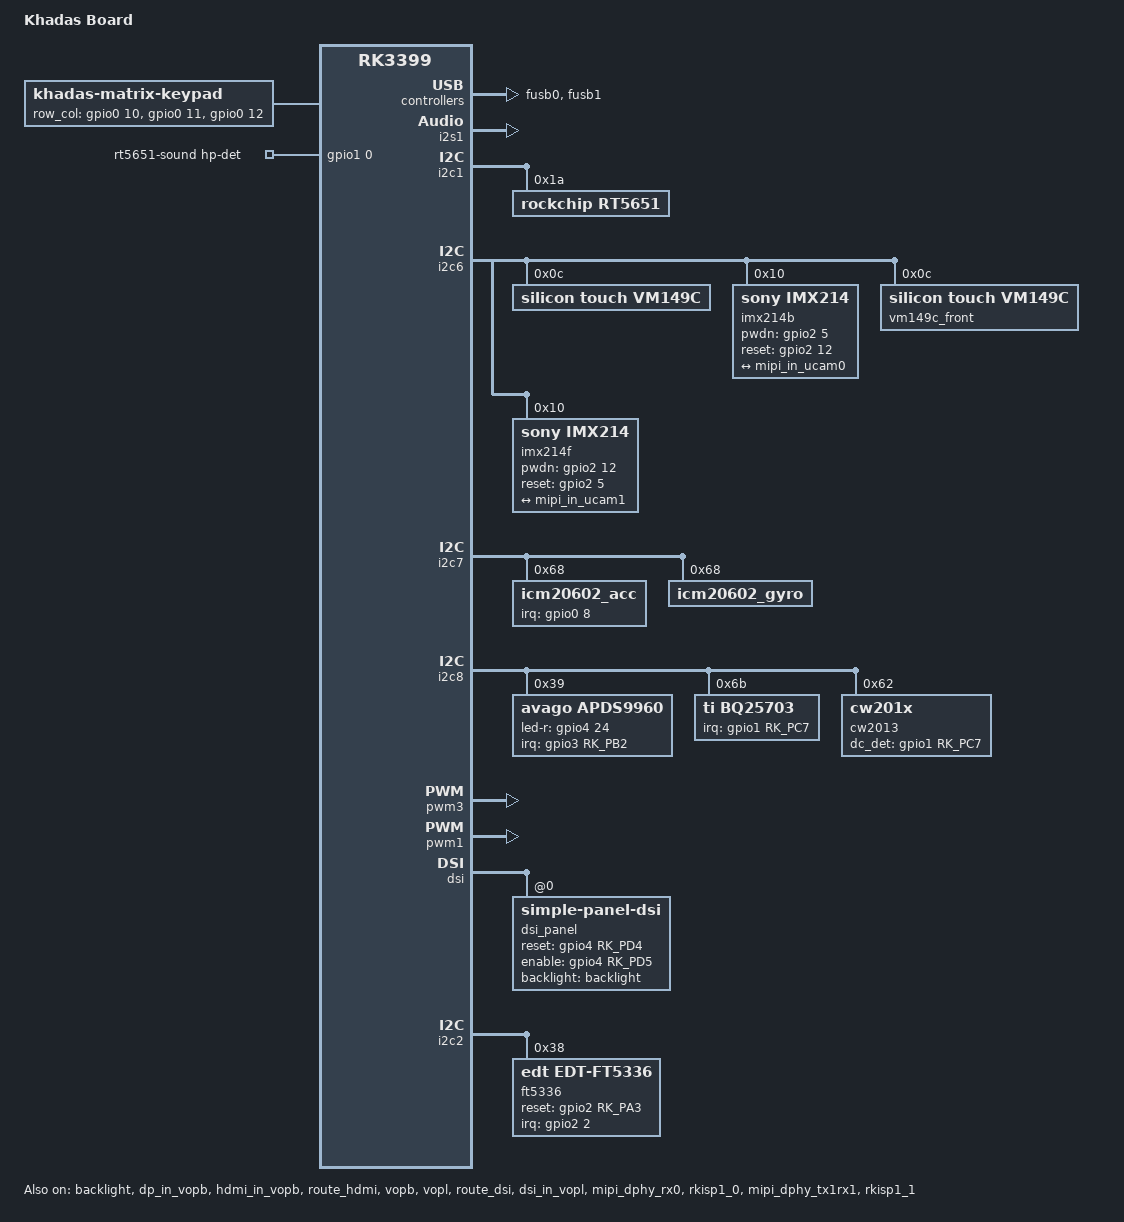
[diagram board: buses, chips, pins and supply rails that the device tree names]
// SPDX-License-Identifier: (GPL-2.0+ OR MIT)
/*
 * Copyright (c) 2018 Fuzhou Rockchip Electronics Co., Ltd
 */

/dts-v1/;

#include "rk3399-khadas-edge.dtsi"
#include <dt-bindings/sensor-dev.h>
#include <dt-bindings/input/input.h>

/ {
	model = "Khadas Board";
	compatible = "Khadas,edge", "Khadas,edge-io", "rockchip,rk3399";
	chosen {
	bootargs = "earlycon=uart8250,mmio32,0xff1a0000 swiotlb=1 console=ttyFIQ0 androidboot.baseband=N/A androidboot.veritymode=enforcing androidboot.hardware=rk30board androidboot.console=ttyFIQ0 init=/init initrd=0x62000001,0x00800000 coherent_pool=1m";
	};
    khadas-matrix-keypad {
		status = "okay";
		compatible = "khadas-matrix-keypad";
		row_col_gpio =
				<&gpio0 10 GPIO_ACTIVE_HIGH>,
				<&gpio0 11 GPIO_ACTIVE_HIGH>,
				<&gpio0 12 GPIO_ACTIVE_HIGH>;
		pinctrl-names = "default";
		pinctrl-0 = <&matrix_gpio>;
		debounce-delay-ms = <10>;
		col-scan-delay-us = <10>;
		linux,no-autorepeat;
	};

	rt5651-sound {
		status = "okay";
		compatible = "simple-audio-card";

		pinctrl-names = "default";
		pinctrl-0 = <&rt5651_hpdet>;


		simple-audio-card,format = "i2s";
		simple-audio-card,name = "realtek,rt5651-codec";
		simple-audio-card,mclk-fs = <256>;
		simple-audio-card,hp-det-gpio = <&gpio1 0 GPIO_ACTIVE_HIGH>;
		simple-audio-card,widgets =
			"Microphone", "Mic Jack",
			"Headphone", "Headphone Jack";
		simple-audio-card,routing =
			"Mic Jack", "MICBIAS1",
			"IN1P", "Mic Jack",
			"Headphone Jack", "HPOL",
			"Headphone Jack", "HPOR";
		simple-audio-card,cpu {
			sound-dai = <&i2s1>;
		};
		simple-audio-card,codec {
			sound-dai = <&rt5651>;
		};
	};
};
&firmware_android {
       compatible = "android,firmware";
       boot_devices = "fe330000.sdhci";
       vbmeta {
               compatible = "android,vbmeta";
               parts = "vbmeta,boot,system,vendor,dtbo";
       };
       fstab {
               compatible = "android,fstab";
               vendor {
                       compatible = "android,vendor";
                       dev = "/dev/block/by-name/vendor";
                       type = "ext4";
                       mnt_flags = "ro,barrier=1,inode_readahead_blks=8";
                       fsmgr_flags = "wait,avb";
		};
	};
};

&fusb0 {
	status = "okay";
	max-input-voltage = <13000000>;
	max-input-current = <6000000>;
	charge-dev = <&bq25703>;
};

&fusb1 {
	status = "okay";
	max-input-voltage = <13000000>;
	max-input-current = <6000000>;
	charge-dev = <&bq25703>;
};

&i2s1 {
	status = "okay";
	rockchip,i2s-broken-burst-len;
	rockchip,playback-channels = <2>;
	rockchip,capture-channels = <2>;
	#sound-dai-cells = <0>;
};

&isp0_mmu {
	status = "okay";
};

&isp0 {
	status = "disabled";
};

&isp1_mmu {
	status = "okay";
};

&isp1 {
	status = "disabled";
};

&i2c1 {
	status = "okay";
	i2c-scl-rising-time-ns = <300>;
	i2c-scl-falling-time-ns = <15>;

	rt5651: rt5651@1a {
		#sound-dai-cells = <0>;
		compatible = "rockchip,rt5651";
		reg = <0x1a>;
		clocks = <&cru SCLK_I2S_8CH_OUT>;
		clock-names = "mclk";
		pinctrl-names = "default";
		pinctrl-0 = <&i2s_8ch_mclk>;
		status = "okay";
	};
};

&i2c6 {
	status = "okay";

	vm149c: vm149c@0c {
		compatible = "silicon touch,vm149c";
		status = "okay";
		reg = <0x0c>;
		rockchip,camera-module-index = <0>;
		rockchip,camera-module-facing = "back";
	};
	
	imx214b: imx214b@10 {
		compatible = "sony,imx214";
		status = "okay";
		reg = <0x10>;
		clocks = <&cru SCLK_CIF_OUT>;
		clock-names = "xvclk";
		/* avdd-supply = <>; */
		/* dvdd-supply = <>; */
		/* dovdd-supply = <>; */
		/* reset-gpios = <>; */
		pwdn-gpios = <&gpio2 5 GPIO_ACTIVE_HIGH>;
		reset-gpios = <&gpio2 12 GPIO_ACTIVE_HIGH>;
		pinctrl-names = "rockchip,camera_default";
		pinctrl-0 = <&cif_clkout>;
		rockchip,camera-module-index = <0>;
		rockchip,camera-module-facing = "back";
		rockchip,camera-module-name = "YG9626-S600Y7-C";
		rockchip,camera-module-lens-name = "LG-50013A7";
		lens-focus = <&vm149c>;
		port {
			ucam_out0: endpoint {
				remote-endpoint = <&mipi_in_ucam0>;
				//remote-endpoint = <&mipi_in_ucam1>;
				data-lanes = <1 2>;
			};
		};
	};	

	vm149c_front: vm149c_front@0c {
		compatible = "silicon touch,vm149c";
		status = "okay";
		reg = <0x0c>;
		rockchip,camera-module-index = <1>;
		rockchip,camera-module-facing = "front";		
	};
	
	imx214f: imx214f@10 {
		compatible = "sony,imx214";
		status = "okay";
		reg = <0x10>;
		clocks = <&cru SCLK_CIF_OUT>;
		clock-names = "xvclk";
		/* avdd-supply = <>; */
		/* dvdd-supply = <>; */
		/* dovdd-supply = <>; */
		/* reset-gpios = <>; */
		pwdn-gpios = <&gpio2 12 GPIO_ACTIVE_HIGH>;
		reset-gpios = <&gpio2 5 GPIO_ACTIVE_HIGH>;
		pinctrl-names = "rockchip,camera_default";
		pinctrl-0 = <&cif_clkout>;
		rockchip,camera-module-index = <1>;
		rockchip,camera-module-facing = "front";
		rockchip,camera-module-name = "YG9626-S600Y7-C";
		rockchip,camera-module-lens-name = "LG-50013A7";
		lens-focus = <&vm149c_front>;
		port {
			ucam_out1: endpoint {
				//remote-endpoint = <&mipi_in_ucam0>;
				remote-endpoint = <&mipi_in_ucam1>;
				data-lanes = <1 2>;
			};
		};
	};	
};

&i2c7 {
	status = "okay";

	icm20602_acc: icm_acc@68 {
		compatible = "icm20602_acc";
		reg = <0x68>;
		irq-gpio = <&gpio0 8 IRQ_TYPE_LEVEL_LOW>; /* GPIO0_B0 */
		irq_enable = <0>;
		poll_delay_ms = <30>;
		type = <SENSOR_TYPE_ACCEL>;
		layout = <9>;
	};

	icm20602_gyro: icm_gyro@68 {
		compatible = "icm20602_gyro";
		reg = <0x68>;
		irq_enable = <0>;
		poll_delay_ms = <30>;
		type = <SENSOR_TYPE_GYROSCOPE>;
		layout = <7>;
	};
};

&i2c8 {
	status = "okay";
	i2c-scl-rising-time-ns = <600>;
	i2c-scl-falling-time-ns = <20>;

	apds9960@39 {
		compatible = "avago,apds9960";
		reg = <0x39>;
		interrupt-parent = <&gpio3>;
		interrupts = <RK_PB2 IRQ_TYPE_LEVEL_LOW>;
		led-r-gpio = <&gpio4 24 GPIO_ACTIVE_HIGH>;		
		pinctrl-names = "default";
		pinctrl-0 = <&apds_int_l>;
	};

	bq25703: bq25703@6b {
		compatible = "ti,bq25703";
		reg = <0x6b>;
		extcon = <&fusb0>, <&fusb1>;
		interrupt-parent = <&gpio1>;
		interrupts = <RK_PC7 IRQ_TYPE_LEVEL_LOW>; /* GPIO1_C7 */
		pinctrl-names = "default";
		pinctrl-0 = <&charger_ok>;
		ti,charge-current = <1500000>;
		ti,max-charge-voltage = <8500000>;
		ti,max-input-voltage = <20000000>;
		ti,max-input-current = <6000000>;
		ti,input-current-sdp = <500000>;
		ti,input-current-dcp = <2000000>;
		ti,input-current-cdp = <2000000>;
		ti,input-current-dc = <2000000>;
		ti,minimum-sys-voltage = <7400000>;
		ti,otg-voltage = <5000000>;
		ti,otg-current = <500000>;
		ti,input-current = <500000>;
		pd-charge-only = <0>;
		status = "okay";
	};

	cw2013: cw2013@62 {
		status = "okay";
		compatible = "cw201x";
		reg = <0x62>;
		bat_config_info = <0x15 0x7F 0x6E 0x66 0x65 0x5C 0x5B 0x59
				0x58 0x57 0x57 0x54 0x53 0x51 0x4B 0x48
				0x40 0x33 0x2A 0x26 0x23 0x25 0x2A 0x34
				0x45 0x4F 0x0C 0xCD 0x44 0x68 0x67 0x68
				0x6E 0x6F 0x6C 0x68 0x3A 0x10 0x8A 0x01
				0x01 0x54 0x52 0x87 0x8F 0x91 0x94 0x52
				0x82 0x8C 0x92 0x96 0x82 0xFF 0xFF 0xCB
				0x2F 0x7D 0x64 0xA5 0xB5 0x13 0x58 0x09>;
		monitor_sec = <5>;
		virtual_power = <0>;
		divider_res1 = <200>;
		divider_res2 = <200>;
		dc_det_gpio = <&gpio1 RK_PC7 GPIO_ACTIVE_HIGH>;
	};
};

&rk_key {
	enter-key {
		linux,code = <232>;
		label = "enter";
		rockchip,adc_value = <170>;
	};
};


&pwm3 {
	status = "okay";

	interrupts = <GIC_SPI 61 IRQ_TYPE_LEVEL_HIGH 0>;
	compatible = "rockchip,remotectl-pwm";
	remote_pwm_id = <3>;
	handle_cpu_id = <1>;
	remote_support_psci = <1>;
	pinctrl-names = "default";
	pinctrl-0 = <&pwm3b_pin>;

	ir_key1 {
		rockchip,usercode = <0xff00>;
		rockchip,key_table =
			<0xeb   KEY_POWER>,
			<0xec   KEY_MENU>,
			<0xfc   KEY_UP>,
			<0xfd   KEY_DOWN>,
			<0xf1   KEY_LEFT>,
			<0xe5   KEY_RIGHT>,
			<0xf8   232>,
			<0xa7   KEY_VOLUMEDOWN>,
			<0xa3    388>,  //mouse func
			<0xa4    388>,  //mouse func
			<0xf4   KEY_VOLUMEUP>,
			<0xfe   KEY_BACK>,
			<0xb7   KEY_HOME>;

	};

};

&backlight {
	pwms = <&pwm1 0 25000 0>;
	status = "okay";
};


&pwm1 {
	status = "okay";
};

&dp_in_vopl {
	status = "disabled";
};

&dp_in_vopb {
	status = "okay";
};

&hdmi_in_vopb {
	status = "okay";
};

&hdmi_in_vopl {
	status = "disabled";
};

&route_hdmi {
	status = "okay";
	connect = <&vopb_out_hdmi>;
};

&vopb {
	status = "okay";
	assigned-clocks = <&cru DCLK_VOP0_DIV>;
	assigned-clock-parents = <&cru PLL_VPLL>;
};

&vopl {
	status = "okay";
	assigned-clocks = <&cru DCLK_VOP1_DIV>;
	assigned-clock-parents = <&cru PLL_CPLL>;
};
&route_dsi {
	status = "okay";
	connect = <&vopl_out_dsi>;
};

&dsi_in_vopb {
	status = "disabled";
};

&dsi_in_vopl {
	status = "okay";
};

&dsi {
    status = "okay";
    rockchip,lane-rate = <400>;
    dsi_panel: panel@0 {
        status = "okay";
        compatible = "simple-panel-dsi";
        reg = <0>;
        backlight = <&backlight>;
        reset-gpios = <&gpio4 RK_PD4 GPIO_ACTIVE_HIGH>; /* GPIO4_D4 */
        enable-gpios = <&gpio4 RK_PD5 GPIO_ACTIVE_HIGH>; /* GPIO4_D5 */
//		pinctrl-names = "default";
//      pinctrl-0 = <&lcd_reset_gpio>, <&lcd_enable_gpio>;
        reset-delay-ms = <10>;
        enable-delay-ms = <200>;
        prepare-delay-ms = <200>;
        unprepare-delay-ms = <60>;
        disable-delay-ms = <60>;
		dsi,flags = <(MIPI_DSI_MODE_VIDEO | MIPI_DSI_MODE_VIDEO_BURST)>;

		dsi,format = <MIPI_DSI_FMT_RGB888>;
        dsi,lanes  = <4>;
		panel-init-sequence = [
                                  
            39 E0 04 FF 98 81 03  // Sequence format  BYTE1=DSC Command TYPE  | BYTE2=Delay in milliseconds  | BYTE3= Number of bytes in command | BYTE4/5/6/7= ILI9881 Command
            15 20 02 01 00        // Sequence format  BYTE1=DSC Command TYPE  | BYTE2=Delay in milliseconds  | BYTE3= Number of bytes in command | BYTE4/5= ILI9881 Command
            15 20 02 02 00
            15 20 02 03 72
            15 20 02 04 00
            15 20 02 05 00
            15 20 02 06 09
            15 20 02 07 00
            15 20 02 08 00
            15 20 02 09 01
            15 20 02 0A 00
            15 20 02 0B 00
            15 20 02 0C 01
            15 20 02 0D 00
            15 20 02 0E 00
            15 20 02 0F 00
            15 20 02 10 00
            15 20 02 11 00
            15 20 02 12 00
            15 20 02 13 00
            15 20 02 14 00
            15 20 02 15 00
            15 20 02 16 00
            15 20 02 17 00
            15 20 02 18 00
            15 20 02 19 00
            15 20 02 1A 00
            15 20 02 1B 00
            15 20 02 1C 00
            15 20 02 1D 00
            15 20 02 1E 40
            15 20 02 1F 80
            15 20 02 20 05
            15 20 02 21 02
            15 20 02 22 00
            15 20 02 23 00
            15 20 02 24 00
            15 20 02 25 00
            15 20 02 26 00
            15 20 02 27 00
            15 20 02 28 33
            15 20 02 29 02
            15 20 02 2A 00
            15 20 02 2B 00
            15 20 02 2C 00
            15 20 02 2D 00
            15 20 02 2E 00
            15 20 02 2F 00
            15 20 02 30 00
            15 20 02 31 00
            15 20 02 32 00
            15 20 02 33 00
            15 20 02 34 04
            15 20 02 35 00
            15 20 02 36 00
            15 20 02 37 00
            15 20 02 38 3C
            15 20 02 39 00
            15 20 02 3A 40
            15 20 02 3B 40
            15 20 02 3C 00
            15 20 02 3D 00
            15 20 02 3E 00
            15 20 02 3F 00
            15 20 02 40 00
            15 20 02 41 00
            15 20 02 42 00
            15 20 02 43 00
            15 20 02 44 00
            15 20 02 50 01
            15 20 02 51 23
            15 20 02 52 45
            15 20 02 53 67
            15 20 02 54 89
            15 20 02 55 AB
            15 20 02 56 01
            15 20 02 57 23
            15 20 02 58 45
            15 20 02 59 67
            15 20 02 5A 89
            15 20 02 5B AB
            15 20 02 5C CD
            15 20 02 5D EF
            15 20 02 5E 11
            15 20 02 5F 01
            15 20 02 60 00
            15 20 02 61 15
            15 20 02 62 14
            15 20 02 63 0E
            15 20 02 64 0F
            15 20 02 65 0C
            15 20 02 66 0D
            15 20 02 67 06
            15 20 02 68 02
            15 20 02 69 07
            15 20 02 6A 02
            15 20 02 6B 02
            15 20 02 6C 02
            15 20 02 6D 02
            15 20 02 6E 02
            15 20 02 6F 02
            15 20 02 70 02
            15 20 02 71 02
            15 20 02 72 02
            15 20 02 73 02
            15 20 02 74 02
            15 20 02 75 01
            15 20 02 76 00
            15 20 02 77 14
            15 20 02 78 15
            15 20 02 79 0E
            15 20 02 7A 0F
            15 20 02 7B 0C
            15 20 02 7C 0D
            15 20 02 7D 06
            15 20 02 7E 02
            15 20 02 7F 07
            15 20 02 80 02
            15 20 02 81 02
            15 20 02 82 02
            15 20 02 83 02
            15 20 02 84 02
            15 20 02 85 02
            15 20 02 86 02
            15 20 02 87 02
            15 20 02 88 02
            15 20 02 89 02
            15 20 02 8A 02
            39 E0 04 FF 98 81 04  // Set to Page 4 Command
            15 20 02 6C 15        // Set VCORE Setting to 0x15
            15 20 02 6E 2A        // Set Power Control2 to 0x2A
            15 20 02 6F 34        // Set Power Control3 to 0x34
            15 20 02 3A 94        // Command 0x3A not in 0.92 spec version
            15 20 02 8D 14        // Set Power Control4 to 0x14
            15 20 02 87 BA        // Command 0x87 not in 0.92 spec version
            15 20 02 26 76        // Command 0x26 not in 0.92 spec version
            15 20 02 B2 D1        // Command 0xB2 not in 0.92 spec version
            15 20 02 B5 06        // Command 0xB5 not in 0.92 spec version
            39 E0 04 FF 98 81 01  // Set to Page 1 Command
            15 20 02 22 09        // Set Panel Operation Mode to 0x0B
            15 20 02 31 00        // Set Display Inversion to 0x00
            15 20 02 53 90        // Set VCOM Control1-2 to 0x90
            15 20 02 55 A2        // Set VCOM Control1-4 to 0xA2
            15 20 02 50 B7        // Set Power Control1-1 to 0xB7
            15 20 02 51 B7        // Set Power Control1-2 to 0xB7
            15 20 02 60 22        // Set Source Timing Adjust-1 to 0x22
            15 20 02 61 00        // Set Source Timing Adjust-2 to 0x00
            15 20 02 62 19        // Set Source Timing Adjust-3 to 0x19
            15 20 02 63 10        // Set Source Timing Adjust-4 to 0x10
            15 20 02 A0 08        // Set Positive Gamma Correction-1 to 0x08
            15 20 02 A1 1A        // Set Positive Gamma Correction-2 to 0x1A
            15 20 02 A2 27        // Set Positive Gamma Correction-3 to 0x27
            15 20 02 A3 15        // Set Positive Gamma Correction-4 to 0x15
            15 20 02 A4 17        // Set Positive Gamma Correction-5 to 0x17
            15 20 02 A5 2A        // Set Positive Gamma Correction-6 to 0x2A
            15 20 02 A6 1E        // Set Positive Gamma Correction-7 to 0x1E
            15 20 02 A7 1F        // Set Positive Gamma Correction-8 to 0x1F
            15 20 02 A8 8B        // Set Positive Gamma Correction-9 to 0x8B
            15 20 02 A9 1B        // Set Positive Gamma Correction-10 to 0x1B
            15 20 02 AA 27        // Set Positive Gamma Correction-11 to 0x27
            15 20 02 AB 78        // Set Positive Gamma Correction-12 to 0x78
            15 20 02 AC 18        // Set Positive Gamma Correction-13 to 0x18
            15 20 02 AD 18        // Set Positive Gamma Correction-14 to 0x18
            15 20 02 AE 4C        // Set Positive Gamma Correction-15 to 0x4C
            15 20 02 AF 21        // Set Positive Gamma Correction-16 to 0x21
            15 20 02 B0 27        // Set Positive Gamma Correction-17 to 0x27
            15 20 02 B1 54        // Set Positive Gamma Correction-18 to 0x54
            15 20 02 B2 67        // Set Positive Gamma Correction-19 to 0x67
            15 20 02 B3 39        // Set Positive Gamma Correction-20 to 0x39
            15 20 02 C0 08        // Set Negative Gamma Correction-1 to 0x08
            15 20 02 C1 1A        // Set Negative Gamma Correction-2 to 0x1A
            15 20 02 C2 27        // Set Negative Gamma Correction-3 to 0x27
            15 20 02 C3 15        // Set Negative Gamma Correction-4 to 0x15
            15 20 02 C4 17        // Set Negative Gamma Correction-5 to 0x17
            15 20 02 C5 2A        // Set Negative Gamma Correction-6 to 0x2A
            15 20 02 C6 1E        // Set Negative Gamma Correction-7 to 0x1E
            15 20 02 C7 1F        // Set Negative Gamma Correction-8 to 0x1F
            15 20 02 C8 8B        // Set Negative Gamma Correction-9 to 0x8B
            15 20 02 C9 1B        // Set Negative Gamma Correction-10 to 0x1B
            15 20 02 CA 27        // Set Negative Gamma Correction-11 to 0x27
            15 20 02 CB 78        // Set Negative Gamma Correction-12 to 0x78
            15 20 02 CC 18        // Set Negative Gamma Correction-13 to 0x18
            15 20 02 CD 18        // Set Negative Gamma Correction-14 to 0x18
            15 20 02 CE 4C        // Set Negative Gamma Correction-15 to 0x4C
            15 20 02 CF 21        // Set Negative Gamma Correction-16 to 0x21
            15 20 02 D0 27        // Set Negative Gamma Correction-17 to 0x27
            15 20 02 D1 54        // Set Negative Gamma Correction-18 to 0x54
            15 20 02 D2 67        // Set Negative Gamma Correction-19 to 0x67
            15 20 02 D3 39        // Set Negative Gamma Correction-20 to 0x39
            39 E0 04 FF 98 81 00  // Set to Page 0 Command
            15 20 02 36 03
            05 20 01 35
            05 FE 01 11           // Set Sleep Out
            05 FE 01 29           // Set Display On
        ];
		panel-exit-sequence = [
			05 FE 01 28
			05 FE 01 10
		];

        disp_timings: display-timings {
            native-mode = <&timing0>;
			timing0: timing0 {
				clock-frequency = <61000000>;
				hactive = <720>;
				vactive = <1280>;
				hback-porch = <5>;
				hfront-porch = <40>;
				vback-porch = <20>;
				vfront-porch = <20>;
				hsync-len = <10>;
				vsync-len = <4>;
				hsync-active = <0>;
				vsync-active = <0>;
				de-active = <0>;
				pixelclk-active = <0>;
			};
        };
    };
};

&i2c2 {
    status = "okay";
    i2c-scl-rising-time-ns = <600>;
    i2c-scl-falling-time-ns = <20>;

	ft5336@38 {
		compatible = "edt,edt-ft5336", "ft5x06";
		reg = <0x38>;
		interrupt-parent = <&gpio2>;
		interrupts = <2 IRQ_TYPE_EDGE_FALLING>;
		reset-gpio = <&gpio2 RK_PA3 GPIO_ACTIVE_HIGH>; /* GPIO2_A3 */
		status = "okay";
	};
};

&pinctrl {
	matrix {
		matrix_gpio: matrix_gpio {
			rockchip,pins =
				<0 10 RK_FUNC_GPIO &pcfg_pull_up>,
				<0 11 RK_FUNC_GPIO &pcfg_pull_up>,
				<0 12 RK_FUNC_GPIO &pcfg_pull_up>;
		};
	};

	apds_int_l: apds-int-l {
		rockchip,pins = <3 10 RK_FUNC_GPIO &pcfg_pull_up>;
	};

	charger {
		charger_ok: charge-ok {
			rockchip,pins = <1 RK_PC7 RK_FUNC_GPIO &pcfg_pull_up>; /* GPIO1_C7 */
		};
	};

	rt5651 {
		rt5651_hpdet: rt5651-hpdet {
			rockchip,pins = <1 0 RK_FUNC_GPIO &pcfg_pull_up>; /* GPIO1_A0 */
		};
	};
};

&mipi_dphy_rx0 {
	status = "okay";

	ports {
		#address-cells = <1>;
		#size-cells = <0>;

		port@0 {
			reg = <0>;
			#address-cells = <1>;
			#size-cells = <0>;

			mipi_in_ucam0: endpoint@1 {
				reg = <1>;
				remote-endpoint = <&ucam_out0>;
				data-lanes = <1 2>;
			};
		};

		port@1 {
			reg = <1>;
			#address-cells = <1>;
			#size-cells = <0>;

			dphy_rx0_out: endpoint@0 {
				reg = <0>;
				remote-endpoint = <&isp0_mipi_in>;
			};
		};
	};
};

&rkisp1_0 {
	status = "okay";

	port {
		#address-cells = <1>;
		#size-cells = <0>;

		isp0_mipi_in: endpoint@0 {
			reg = <0>;
			remote-endpoint = <&dphy_rx0_out>;
		};
	};
};

&mipi_dphy_tx1rx1 {
	status = "okay";

	ports {
		#address-cells = <1>;
		#size-cells = <0>;

		port@0 {
			reg = <0>;
			#address-cells = <1>;
			#size-cells = <0>;

			mipi_in_ucam1: endpoint@1 {
				reg = <1>;
				remote-endpoint = <&ucam_out1>;
				data-lanes = <1 2>;
			};
		};

		port@1 {
			reg = <1>;
			#address-cells = <1>;
			#size-cells = <0>;

			dphy_tx1rx1_out: endpoint@0 {
				reg = <0>;
				remote-endpoint = <&isp1_mipi_in>;
			};
		};
	};
};

&rkisp1_1 {
	status = "okay";

	port {
		#address-cells = <1>;
		#size-cells = <0>;

		isp1_mipi_in: endpoint@0 {
			reg = <0>;
			remote-endpoint = <&dphy_tx1rx1_out>;
		};
	};
};
